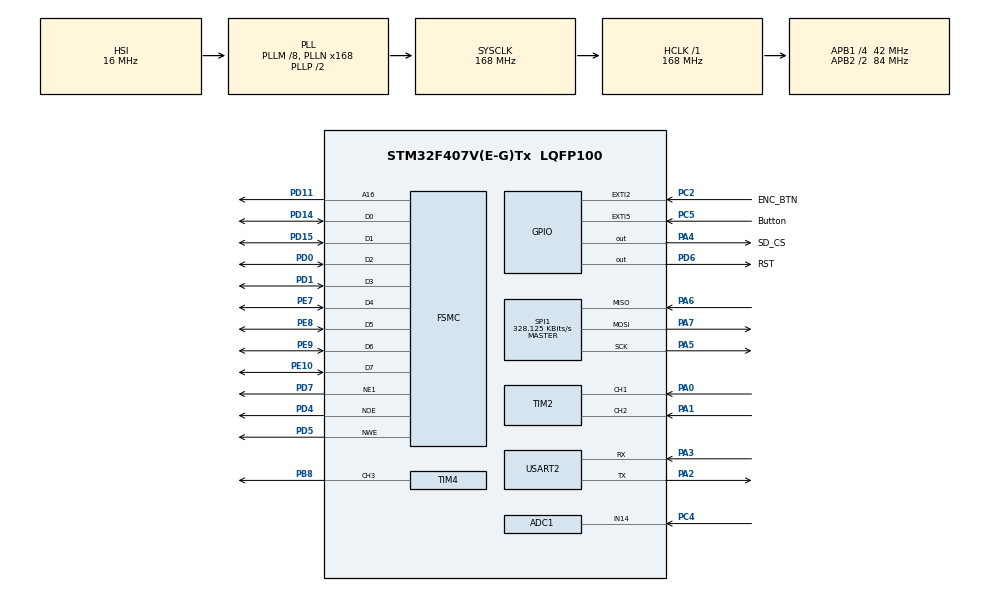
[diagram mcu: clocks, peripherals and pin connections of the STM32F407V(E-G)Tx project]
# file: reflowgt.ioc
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ADC1.Channel-7\#ChannelRegularConversion=ADC_CHANNEL_14
ADC1.NbrOfConversionFlag=1
ADC1.Rank-7\#ChannelRegularConversion=1
ADC1.SamplingTime-7\#ChannelRegularConversion=ADC_SAMPLETIME_3CYCLES
ADC1.master=1
FSMC.AddressSetupTime1=0
FSMC.BusTurnAroundDuration1=0
FSMC.DataSetupTime1=3
Mcu.Family=STM32F4
Mcu.Name=STM32F407V(E-G)Tx
Mcu.Package=LQFP100
NVIC.EXTI2_IRQn=true\:0\:0\:false\:false\:true\:true\:true\:true
NVIC.EXTI9_5_IRQn=true\:0\:0\:false\:false\:true\:true\:true\:true
NVIC.PriorityGroup=NVIC_PRIORITYGROUP_4
NVIC.TIM3_IRQn=true\:0\:0\:false\:false\:true\:true\:true\:true
PA0-WKUP.Signal=S_TIM2_CH1_ETR
PA1.Signal=S_TIM2_CH2
PA13.Mode=Trace_Asynchronous_SW
PA13.Signal=SYS_JTMS-SWDIO
PA14.Mode=Trace_Asynchronous_SW
PA14.Signal=SYS_JTCK-SWCLK
PA2.Mode=Asynchronous
PA2.Signal=USART2_TX
PA3.Mode=Asynchronous
PA3.Signal=USART2_RX
PA4.GPIO_Label=SD_CS
PA4.PinState=GPIO_PIN_SET
PA4.Signal=GPIO_Output
PA5.GPIO_PuPd=GPIO_NOPULL
PA5.Mode=Full_Duplex_Master
PA5.Signal=SPI1_SCK
PA6.GPIO_PuPd=GPIO_NOPULL
PA6.Mode=Full_Duplex_Master
PA6.Signal=SPI1_MISO
PA7.GPIO_PuPd=GPIO_NOPULL
PA7.Mode=Full_Duplex_Master
PA7.Signal=SPI1_MOSI
PB3.Mode=Trace_Asynchronous_SW
PB3.Signal=SYS_JTDO-SWO
PB8.Signal=S_TIM4_CH3
PC2.GPIO_Label=ENC_BTN
PC2.GPIO_ModeDefaultEXTI=GPIO_MODE_IT_RISING_FALLING
PC2.GPIO_PuPd=GPIO_PULLUP
PC2.Signal=GPXTI2
PC4.Signal=ADCx_IN14
PC5.GPIO_Label=Button
PC5.GPIO_PuPd=GPIO_PULLUP
PC5.Signal=GPXTI5
PD0.Mode=8b-d1
PD0.Signal=FSMC_D2
PD1.Mode=8b-d1
PD1.Signal=FSMC_D3
PD11.Mode=A16_1
PD11.Signal=FSMC_A16
PD14.Mode=8b-d1
PD14.Signal=FSMC_D0
PD15.Mode=8b-d1
PD15.Signal=FSMC_D1
PD4.Mode=Lcd1
PD4.Signal=FSMC_NOE
PD5.Mode=Lcd1
PD5.Signal=FSMC_NWE
PD6.GPIO_Label=RST
PD6.Signal=GPIO_Output
PD7.Mode=NorPsramChipSelect1_1
PD7.Signal=FSMC_NE1
PE10.Mode=8b-d1
PE10.Signal=FSMC_D7
PE7.Mode=8b-d1
PE7.Signal=FSMC_D4
PE8.Mode=8b-d1
PE8.Signal=FSMC_D5
PE9.Mode=8b-d1
PE9.Signal=FSMC_D6
ProjectManager.HeapSize=0x200
ProjectManager.StackSize=0x400
ProjectManager.TargetToolchain=STM32CubeIDE
RCC.48MHZClocksFreq_Value=84000000
RCC.AHBFreq_Value=168000000
RCC.APB1CLKDivider=RCC_HCLK_DIV4
RCC.APB1Freq_Value=42000000
RCC.APB1TimFreq_Value=84000000
RCC.APB2CLKDivider=RCC_HCLK_DIV2
RCC.APB2Freq_Value=84000000
RCC.APB2TimFreq_Value=168000000
RCC.CortexFreq_Value=168000000
RCC.HCLKFreq_Value=168000000
RCC.HSE_VALUE=25000000
RCC.HSI_VALUE=16000000
RCC.LSE_VALUE=32768
RCC.PLLM=8
RCC.PLLN=168
RCC.SYSCLKFreq_VALUE=168000000
RCC.SYSCLKSource=RCC_SYSCLKSOURCE_PLLCLK
RCC.VCOOutputFreq_Value=336000000
SH.ADCx_IN14.0=ADC1_IN14,IN14
SH.S_TIM2_CH1_ETR.0=TIM2_CH1,Encoder_Interface
SH.S_TIM2_CH2.0=TIM2_CH2,Encoder_Interface
SH.S_TIM4_CH3.0=TIM4_CH3,PWM Generation3 CH3
SPI1.BaudRatePrescaler=SPI_BAUDRATEPRESCALER_256
SPI1.CalculateBaudRate=328.125 KBits/s
SPI1.Direction=SPI_DIRECTION_2LINES
SPI1.Mode=SPI_MODE_MASTER
SPI1.VirtualType=VM_MASTER
TIM2.AutoReloadPreload=TIM_AUTORELOAD_PRELOAD_ENABLE
TIM2.EncoderMode=TIM_ENCODERMODE_TI12
TIM2.IC1Filter=5
TIM2.IC2Filter=5
TIM3.AutoReloadPreload=TIM_AUTORELOAD_PRELOAD_ENABLE
TIM3.Period=4999
TIM3.Prescaler=8399
TIM4.AutoReloadPreload=TIM_AUTORELOAD_PRELOAD_ENABLE
TIM4.Channel-PWM\ Generation3\ CH3=TIM_CHANNEL_3
TIM4.Period=839
TIM4.Prescaler=10000
USART2.VirtualMode=VM_ASYNC
VP_FATFS_VS_Generic.Mode=User_defined
VP_TIM3_VS_ClockSourceINT.Mode=Internal
board=custom

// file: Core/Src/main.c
/* USER CODE BEGIN Header */
/**
  ******************************************************************************
  * @file           : main.c
  * @brief          : Main program body
  ******************************************************************************
  * @attention
  *
  * Copyright (c) 2025 STMicroelectronics.
  * All rights reserved.
  *
  * This software is licensed under terms that can be found in the LICENSE file
  * in the root directory of this software component.
  * If no LICENSE file comes with this software, it is provided AS-IS.
  *
  ******************************************************************************
  */
/* USER CODE END Header */
#include "main.h"
#include "fatfs.h"

/* USER CODE BEGIN Includes */
#include <lvgl.h>
//#include <examples/lv_examples.h>
#include "ILI9341.h"
#include <ui/ui.h>
#include <math.h>  // Untuk fungsi log()
#include "stdio.h"
#include "string.h"
#include "stdarg.h"

#define constrain(nilaix,bawah,atas) ( (nilaix)<(bawah) ? (bawah) : ( (nilaix)>(atas) ? (atas) : (nilaix) ) )
#define ADC_RESOLUTION 4096  // Resolusi ADC (misalnya, 12-bit untuk STM32)
const float VREF = 3.3;             // Tegangan referensi ADC (dalam volt)
//const float R_SERI = 1230;         // Nilai resistor seri (ohm)
const float R_SERI = 1200;         // Nilai resistor seri (ohm)
uint32_t prev = 0, start_enc_btn_timing = 0;
volatile uint16_t adc_val;
volatile float temperature = 0, integral_sum = 0;
int measured_temperature = 0;
float rNTC, vNTC, time_4_start = 0;
int Temp_target[5] = {0, 150, 150, 221, 221};
int Time_target[5] = {0, 100, 180, 240, 260};
int data_pwm = 0;
bool home = false;
volatile bool enc_btn_flag = false;
volatile bool enc_btn_pressed = false;
//float beta_data[13]={8999.94478, 4597.25931, 4642.77635, 4589.35974, 4922.85215, 4382.09046, 4981.99115, 5088.81046, 5219.67009, 5229.97882, 5231.95880, 8424.73742, 1907.32719
//};
//float R_ref[13]={76800, 37800, 19800, 10900, 6800, 4100, 2860, 1480, 1100, 800, 560, 400, 206
//};
//float T_data[13]={30, 46, 61, 76, 89, 103, 115, 136, 146, 157, 170, 183, 200
//};
//float beta_data[]={3356, 3906, 4282, 4425, 3836, 4491, 4124, 2943, 4671};
float beta_data[]={3358, 3910, 4291, 4444, 3865, 4549, 4211, 3593, 3863};
//float R_ref[]={76260, 38430, 18998, 9555, 5058, 3078, 1818, 1171, 879, 579
float R_ref[]={76230, 38400, 18968, 9525, 5028, 3048, 1788, 1141, 740, 487
};
float T_data[]={30, 50, 70, 90, 110, 130, 150, 170, 195, 220};
//float time_from_start = 0;
/* USER CODE END Includes */

ADC_HandleTypeDef hadc1;

SPI_HandleTypeDef hspi1;

TIM_HandleTypeDef htim2;
TIM_HandleTypeDef htim3;
TIM_HandleTypeDef htim4;

UART_HandleTypeDef huart2;

SRAM_HandleTypeDef hsram1;

void SystemClock_Config(void);
static void MX_GPIO_Init(void);
static void MX_FSMC_Init(void);
static void MX_TIM2_Init(void);
static void MX_ADC1_Init(void);
static void MX_TIM4_Init(void);
static void MX_TIM3_Init(void);
static void MX_SPI1_Init(void);
static void MX_USART2_UART_Init(void);

/* USER CODE BEGIN 0 */
void myprintf(const char *fmt, ...) {
  static char buffer[256];
  va_list args;
  va_start(args, fmt);
  vsnprintf(buffer, sizeof(buffer), fmt, args);
  va_end(args);

  int len = strlen(buffer);
  HAL_UART_Transmit(&huart2, (uint8_t*)buffer, len, -1);

}

FATFS FatFs;
FRESULT mount_sd(int attemp) {
    FRESULT fres = f_mount(&FatFs, "", 1);
    if (fres != FR_OK) {
    	if(attemp <= 0){
    		return fres;
    	}
    	HAL_Delay(2000);
    	return mount_sd(attemp - 1);
    }
    return fres;
}

void unmount_sd() {
    f_mount(NULL, "", 0);
}

FRESULT write_data(uint16_t d1, uint16_t d2, uint16_t d3, uint16_t d4, uint16_t d5, uint16_t d6, uint16_t d7, uint16_t d8, const char* filename) {
    FIL fil;
    FRESULT fres;
    char path[30];
    sprintf(path, "%s.txt", filename);

    fres = mount_sd(5);
    if(fres != FR_OK) return fres;

    fres = f_open(&fil, path, FA_WRITE | FA_CREATE_ALWAYS);
    if (fres != FR_OK) {
        unmount_sd();
        return fres;
    }

    char buffer[100];
    sprintf(buffer, "%u\n%u\n%u\n%u\n%u\n%u\n%u\n%u\n", d1, d2, d3, d4, d5, d6, d7, d8);

    UINT bytesWritten;
    fres = f_write(&fil, buffer, strlen(buffer), &bytesWritten);
    if (fres != FR_OK) {
        f_close(&fil);
        unmount_sd();
        return fres;
    }

    f_close(&fil);
    unmount_sd();
    return fres;
}

FRESULT read_data(uint16_t* d1, uint16_t* d2, uint16_t* d3, uint16_t* d4, uint16_t* d5, uint16_t* d6, uint16_t* d7, uint16_t* d8, const char* filename) {
    FIL fil;
    FRESULT fres;
    char path[30];
    sprintf(path, "%s.txt", filename);
    fres = mount_sd(5);
	if(fres != FR_OK) return fres;
    fres = f_open(&fil, path, FA_READ);
    if (fres != FR_OK) {
        unmount_sd();
        return fres;
    }
    char buffer[100];
    UINT bytesRead;
    fres = f_read(&fil, buffer, sizeof(buffer) - 1, &bytesRead);
    if (fres != FR_OK) {
        f_close(&fil);
        unmount_sd();
        return fres;
    }
    buffer[bytesRead] = '\0';
    sscanf(buffer, "%hu\n%hu\n%hu\n%hu\n%hu\n\%hu\n%hu\n%hu\n", d1, d2, d3, d4, d5, d6, d7, d8);
    f_close(&fil);
    unmount_sd();
    return fres;
}

FRESULT list_txt_files(char* file_list, size_t list_size) {
    DIR dir;
    FILINFO fno;
    FRESULT fres;
    size_t list_index = 0;
    fres = mount_sd(5);
	if(fres != FR_OK) return fres;

    fres = f_opendir(&dir, "");
    if (fres != FR_OK) {
        unmount_sd();
        return fres;
    }

    while (1) {
        fres = f_readdir(&dir, &fno);
        if (fres != FR_OK || fno.fname[0] == 0) break;
        if (!(fno.fattrib & AM_DIR)) {
            char *dot = strrchr(fno.fname, '.');
            if (dot && strcasecmp(dot, ".TXT") == 0) {
                size_t name_length = dot - fno.fname;
                if (list_index + name_length + 2 < list_size) {
                    strncpy(&file_list[list_index], fno.fname, name_length);
                    file_list[list_index + name_length] = '\n'; // Add newline
                    file_list[list_index + name_length + 1] = '\0'; // Null terminator
                    list_index += name_length + 1;
                } else {
                    break;
                }
            }
        }
    }
    f_closedir(&dir);
    unmount_sd();
    return FR_OK;
}

FRESULT delete_file(const char *filename) {
    FRESULT fres;
    char path[30];

    snprintf(path, sizeof(path), "%s.txt", filename);
    fres = mount_sd(5);
	if(fres != FR_OK) return fres;
    FILINFO fno;
    fres = f_stat(path, &fno);
    if (fres == FR_NO_FILE) {
        unmount_sd();
        return fres;
    } else if (fres != FR_OK) {
        unmount_sd();
        return fres;
    }

    // Hapus file jika ada
    fres = f_unlink(path);
    unmount_sd();

    return fres;
}

float get_midle_temp(float Ntc_temp){
	return 1.057 * Ntc_temp - 1.6318;
}

float get_temp_pt2(float R2) {
    static float R1 = 0, beta = 0, T1 = 0;
    R1 = R_ref[0];
	beta = beta_data[0];
	T1 = T_data[0];
    for(int a = 0; a <= 9; a++){
        if(R2 < R_ref[a]){
            R1 = R_ref[a];
            beta = beta_data[a];
            T1 = T_data[a];
        }
        else break;
    }
    return 1 / ((-log(R1 / R2) / beta) + (1 / (T1 + 273.15))) - 273.15;
}

uint16_t adc2Celcius() {
    vNTC = (float)adc_val * 3.3f / 4095.0f;
    rNTC = R_SERI * (vNTC / (VREF - vNTC));
    return (uint16_t)get_temp_pt2(rNTC);
}

uint32_t GetElapsedTimems(uint32_t start) {
    uint32_t current = uwTick;  // Membaca nilai counter saat ini
    if (current >= start) {
        return current - start;  // Waktu yang berlalu (tidak ada overflow)
    } else {
        return (4294967295 - start + current + 1);  // +1 karena counter termasuk 0
    }
}

int compute_PI(float pv, float sp, float kp, float ki, float kd) {
    float error = sp - pv;
//    if(error < 0) integral_sum = 0;
    static float prev_err = 0;
    float dt = (float)GetElapsedTimems(prev);
    integral_sum += error * dt;
    prev = uwTick;

    if(error < 20 && error > -20) integral_sum = constrain(integral_sum, 0, 250/ki);
    else integral_sum = 0;
    float derivative = (error - prev_err) / dt;
    prev_err = error;

//    if(error > 0)

    float output = (kp * error) + (ki * integral_sum) + (kd * derivative);
//    output = constrain((int)output, 0, 250) ;
    output = constrain((int)output, 0, 250);
//    if(output == 250.0) integral_sum = 0;
    prev_err = error;

    return output;
}

void my_enc_read (lv_indev_t *indev_drv, lv_indev_data_t * data)
{
    static int prev_data = 0;
    int pulse = (TIM2->CNT) >> 2;
    int selisih = pulse - prev_data;
    prev_data = pulse;
    data->enc_diff = selisih;

    if(enc_btn_flag){
    	data->state = LV_INDEV_STATE_PRESSED;
        enc_btn_flag = false;
    }
    else {
        data->state = LV_INDEV_STATE_RELEASED;
    }
}

void create_group(){
	lv_indev_t *my_indev = lv_indev_create();

	ui_create_groups();
	lv_indev_set_type(my_indev, LV_INDEV_TYPE_ENCODER);
	lv_indev_set_read_cb(my_indev, my_enc_read);
	lv_indev_set_group(my_indev, groups.Enc);
}
/* USER CODE END 0 */

int main(void)
{

  /* MCU Configuration--------------------------------------------------------*/

  /* Reset of all peripherals, Initializes the Flash interface and the Systick. */
  HAL_Init();

  /* Configure the system clock */
  SystemClock_Config();

  /* Initialize all configured peripherals */
  MX_GPIO_Init();
  MX_FSMC_Init();
  MX_TIM2_Init();
  MX_ADC1_Init();
  MX_TIM4_Init();
  MX_TIM3_Init();
  MX_SPI1_Init();
  MX_FATFS_Init();
  MX_USART2_UART_Init();
  /* USER CODE BEGIN 2 */
  lv_init();
  lv_port_disp_init();
  HAL_TIM_Encoder_Start(&htim2, TIM_CHANNEL_ALL);
  HAL_TIM_PWM_Start(&htim4, TIM_CHANNEL_3);
  start_enc_btn_timing = uwTick;
  /* USER CODE END 2 */

  /* Infinite loop */
  /* USER CODE BEGIN WHILE */
  create_group();
  ui_init();
  if ((htim3.Instance->CR1 & TIM_CR1_CEN) == 1) {
		  HAL_TIM_Base_Stop_IT(&htim3);
  }
  while (1)
  {
	  HAL_ADC_Start(&hadc1);
	  HAL_ADC_PollForConversion(&hadc1, 1);
	  adc_val = HAL_ADC_GetValue(&hadc1);
//	  HAL_Delay(50);
    /* USER CODE END WHILE */

    /* USER CODE BEGIN 3 */
	  lv_task_handler();
	  ui_tick();
	  if(home){
//		  lv_scr_load(objects.main);
		  back_to_home();
		  home = !home;
	  }
  }
  /* USER CODE END 3 */
}

void SystemClock_Config(void)
{
  RCC_OscInitTypeDef RCC_OscInitStruct = {0};
  RCC_ClkInitTypeDef RCC_ClkInitStruct = {0};

  /** Configure the main internal regulator output voltage
  */
  __HAL_RCC_PWR_CLK_ENABLE();
  __HAL_PWR_VOLTAGESCALING_CONFIG(PWR_REGULATOR_VOLTAGE_SCALE1);

  /** Initializes the RCC Oscillators according to the specified parameters
  * in the RCC_OscInitTypeDef structure.
  */
  RCC_OscInitStruct.OscillatorType = RCC_OSCILLATORTYPE_HSI;
  RCC_OscInitStruct.HSIState = RCC_HSI_ON;
  RCC_OscInitStruct.HSICalibrationValue = RCC_HSICALIBRATION_DEFAULT;
  RCC_OscInitStruct.PLL.PLLState = RCC_PLL_ON;
  RCC_OscInitStruct.PLL.PLLSource = RCC_PLLSOURCE_HSI;
  RCC_OscInitStruct.PLL.PLLM = 8;
  RCC_OscInitStruct.PLL.PLLN = 168;
  RCC_OscInitStruct.PLL.PLLP = RCC_PLLP_DIV2;
  RCC_OscInitStruct.PLL.PLLQ = 4;
  if (HAL_RCC_OscConfig(&RCC_OscInitStruct) != HAL_OK)
  {
    Error_Handler();
  }

  /** Initializes the CPU, AHB and APB buses clocks
  */
  RCC_ClkInitStruct.ClockType = RCC_CLOCKTYPE_HCLK|RCC_CLOCKTYPE_SYSCLK
                              |RCC_CLOCKTYPE_PCLK1|RCC_CLOCKTYPE_PCLK2;
  RCC_ClkInitStruct.SYSCLKSource = RCC_SYSCLKSOURCE_PLLCLK;
  RCC_ClkInitStruct.AHBCLKDivider = RCC_SYSCLK_DIV1;
  RCC_ClkInitStruct.APB1CLKDivider = RCC_HCLK_DIV4;
  RCC_ClkInitStruct.APB2CLKDivider = RCC_HCLK_DIV2;

  if (HAL_RCC_ClockConfig(&RCC_ClkInitStruct, FLASH_LATENCY_5) != HAL_OK)
  {
    Error_Handler();
  }
}

static void MX_ADC1_Init(void)
{

  ADC_ChannelConfTypeDef sConfig = {0};

  /** Configure the global features of the ADC (Clock, Resolution, Data Alignment and number of conversion)
  */
  hadc1.Instance = ADC1;
  hadc1.Init.ClockPrescaler = ADC_CLOCK_SYNC_PCLK_DIV4;
  hadc1.Init.Resolution = ADC_RESOLUTION_12B;
  hadc1.Init.ScanConvMode = DISABLE;
  hadc1.Init.ContinuousConvMode = DISABLE;
  hadc1.Init.DiscontinuousConvMode = DISABLE;
  hadc1.Init.ExternalTrigConvEdge = ADC_EXTERNALTRIGCONVEDGE_NONE;
  hadc1.Init.ExternalTrigConv = ADC_SOFTWARE_START;
  hadc1.Init.DataAlign = ADC_DATAALIGN_RIGHT;
  hadc1.Init.NbrOfConversion = 1;
  hadc1.Init.DMAContinuousRequests = DISABLE;
  hadc1.Init.EOCSelection = ADC_EOC_SINGLE_CONV;
  if (HAL_ADC_Init(&hadc1) != HAL_OK)
  {
    Error_Handler();
  }

  /** Configure for the selected ADC regular channel its corresponding rank in the sequencer and its sample time.
  */
  sConfig.Channel = ADC_CHANNEL_14;
  sConfig.Rank = 1;
  sConfig.SamplingTime = ADC_SAMPLETIME_3CYCLES;
  if (HAL_ADC_ConfigChannel(&hadc1, &sConfig) != HAL_OK)
  {
    Error_Handler();
  }

}

static void MX_SPI1_Init(void)
{

  /* SPI1 parameter configuration*/
  hspi1.Instance = SPI1;
  hspi1.Init.Mode = SPI_MODE_MASTER;
  hspi1.Init.Direction = SPI_DIRECTION_2LINES;
  hspi1.Init.DataSize = SPI_DATASIZE_8BIT;
  hspi1.Init.CLKPolarity = SPI_POLARITY_LOW;
  hspi1.Init.CLKPhase = SPI_PHASE_1EDGE;
  hspi1.Init.NSS = SPI_NSS_SOFT;
  hspi1.Init.BaudRatePrescaler = SPI_BAUDRATEPRESCALER_256;
  hspi1.Init.FirstBit = SPI_FIRSTBIT_MSB;
  hspi1.Init.TIMode = SPI_TIMODE_DISABLE;
  hspi1.Init.CRCCalculation = SPI_CRCCALCULATION_DISABLE;
  hspi1.Init.CRCPolynomial = 10;
  if (HAL_SPI_Init(&hspi1) != HAL_OK)
  {
    Error_Handler();
  }

}

static void MX_TIM2_Init(void)
{

  TIM_Encoder_InitTypeDef sConfig = {0};
  TIM_MasterConfigTypeDef sMasterConfig = {0};

  htim2.Instance = TIM2;
  htim2.Init.Prescaler = 0;
  htim2.Init.CounterMode = TIM_COUNTERMODE_UP;
  htim2.Init.Period = 4294967295;
  htim2.Init.ClockDivision = TIM_CLOCKDIVISION_DIV1;
  htim2.Init.AutoReloadPreload = TIM_AUTORELOAD_PRELOAD_ENABLE;
  sConfig.EncoderMode = TIM_ENCODERMODE_TI12;
  sConfig.IC1Polarity = TIM_ICPOLARITY_RISING;
  sConfig.IC1Selection = TIM_ICSELECTION_DIRECTTI;
  sConfig.IC1Prescaler = TIM_ICPSC_DIV1;
  sConfig.IC1Filter = 5;
  sConfig.IC2Polarity = TIM_ICPOLARITY_RISING;
  sConfig.IC2Selection = TIM_ICSELECTION_DIRECTTI;
  sConfig.IC2Prescaler = TIM_ICPSC_DIV1;
  sConfig.IC2Filter = 5;
  if (HAL_TIM_Encoder_Init(&htim2, &sConfig) != HAL_OK)
  {
    Error_Handler();
  }
  sMasterConfig.MasterOutputTrigger = TIM_TRGO_RESET;
  sMasterConfig.MasterSlaveMode = TIM_MASTERSLAVEMODE_DISABLE;
  if (HAL_TIMEx_MasterConfigSynchronization(&htim2, &sMasterConfig) != HAL_OK)
  {
    Error_Handler();
  }

}

static void MX_TIM3_Init(void)
{

  TIM_ClockConfigTypeDef sClockSourceConfig = {0};
  TIM_MasterConfigTypeDef sMasterConfig = {0};

  htim3.Instance = TIM3;
  htim3.Init.Prescaler = 8399;
  htim3.Init.CounterMode = TIM_COUNTERMODE_UP;
  htim3.Init.Period = 4999;
  htim3.Init.ClockDivision = TIM_CLOCKDIVISION_DIV1;
  htim3.Init.AutoReloadPreload = TIM_AUTORELOAD_PRELOAD_ENABLE;
  if (HAL_TIM_Base_Init(&htim3) != HAL_OK)
  {
    Error_Handler();
  }
  sClockSourceConfig.ClockSource = TIM_CLOCKSOURCE_INTERNAL;
  if (HAL_TIM_ConfigClockSource(&htim3, &sClockSourceConfig) != HAL_OK)
  {
    Error_Handler();
  }
  sMasterConfig.MasterOutputTrigger = TIM_TRGO_RESET;
  sMasterConfig.MasterSlaveMode = TIM_MASTERSLAVEMODE_DISABLE;
  if (HAL_TIMEx_MasterConfigSynchronization(&htim3, &sMasterConfig) != HAL_OK)
  {
    Error_Handler();
  }

}

static void MX_TIM4_Init(void)
{

  TIM_MasterConfigTypeDef sMasterConfig = {0};
  TIM_OC_InitTypeDef sConfigOC = {0};

  htim4.Instance = TIM4;
  htim4.Init.Prescaler = 10000;
  htim4.Init.CounterMode = TIM_COUNTERMODE_UP;
  htim4.Init.Period = 839;
  htim4.Init.ClockDivision = TIM_CLOCKDIVISION_DIV1;
  htim4.Init.AutoReloadPreload = TIM_AUTORELOAD_PRELOAD_ENABLE;
  if (HAL_TIM_PWM_Init(&htim4) != HAL_OK)
  {
    Error_Handler();
  }
  sMasterConfig.MasterOutputTrigger = TIM_TRGO_RESET;
  sMasterConfig.MasterSlaveMode = TIM_MASTERSLAVEMODE_DISABLE;
  if (HAL_TIMEx_MasterConfigSynchronization(&htim4, &sMasterConfig) != HAL_OK)
  {
    Error_Handler();
  }
  sConfigOC.OCMode = TIM_OCMODE_PWM1;
  sConfigOC.Pulse = 0;
  sConfigOC.OCPolarity = TIM_OCPOLARITY_HIGH;
  sConfigOC.OCFastMode = TIM_OCFAST_DISABLE;
  if (HAL_TIM_PWM_ConfigChannel(&htim4, &sConfigOC, TIM_CHANNEL_3) != HAL_OK)
  {
    Error_Handler();
  }
  HAL_TIM_MspPostInit(&htim4);

}

static void MX_USART2_UART_Init(void)
{

  huart2.Instance = USART2;
  huart2.Init.BaudRate = 115200;
  huart2.Init.WordLength = UART_WORDLENGTH_8B;
  huart2.Init.StopBits = UART_STOPBITS_1;
  huart2.Init.Parity = UART_PARITY_NONE;
  huart2.Init.Mode = UART_MODE_TX_RX;
  huart2.Init.HwFlowCtl = UART_HWCONTROL_NONE;
  huart2.Init.OverSampling = UART_OVERSAMPLING_16;
  if (HAL_UART_Init(&huart2) != HAL_OK)
  {
    Error_Handler();
  }

}

static void MX_GPIO_Init(void)
{
  GPIO_InitTypeDef GPIO_InitStruct = {0};

  /* GPIO Ports Clock Enable */
  __HAL_RCC_GPIOC_CLK_ENABLE();
  __HAL_RCC_GPIOA_CLK_ENABLE();
  __HAL_RCC_GPIOE_CLK_ENABLE();
  __HAL_RCC_GPIOD_CLK_ENABLE();
  __HAL_RCC_GPIOB_CLK_ENABLE();

  /*Configure GPIO pin Output Level */
  HAL_GPIO_WritePin(SD_CS_GPIO_Port, SD_CS_Pin, GPIO_PIN_SET);

  /*Configure GPIO pin Output Level */
  HAL_GPIO_WritePin(RST_GPIO_Port, RST_Pin, GPIO_PIN_RESET);

  /*Configure GPIO pin : ENC_BTN_Pin */
  GPIO_InitStruct.Pin = ENC_BTN_Pin;
  GPIO_InitStruct.Mode = GPIO_MODE_IT_RISING_FALLING;
  GPIO_InitStruct.Pull = GPIO_PULLUP;
  HAL_GPIO_Init(ENC_BTN_GPIO_Port, &GPIO_InitStruct);

  /*Configure GPIO pin : SD_CS_Pin */
  GPIO_InitStruct.Pin = SD_CS_Pin;
  GPIO_InitStruct.Mode = GPIO_MODE_OUTPUT_PP;
  GPIO_InitStruct.Pull = GPIO_NOPULL;
  GPIO_InitStruct.Speed = GPIO_SPEED_FREQ_LOW;
  HAL_GPIO_Init(SD_CS_GPIO_Port, &GPIO_InitStruct);

  /*Configure GPIO pin : Button_Pin */
  GPIO_InitStruct.Pin = Button_Pin;
  GPIO_InitStruct.Mode = GPIO_MODE_IT_RISING;
  GPIO_InitStruct.Pull = GPIO_PULLUP;
  HAL_GPIO_Init(Button_GPIO_Port, &GPIO_InitStruct);

  /*Configure GPIO pin : RST_Pin */
  GPIO_InitStruct.Pin = RST_Pin;
  GPIO_InitStruct.Mode = GPIO_MODE_OUTPUT_PP;
  GPIO_InitStruct.Pull = GPIO_NOPULL;
  GPIO_InitStruct.Speed = GPIO_SPEED_FREQ_LOW;
  HAL_GPIO_Init(RST_GPIO_Port, &GPIO_InitStruct);

  /* EXTI interrupt init*/
  HAL_NVIC_SetPriority(EXTI2_IRQn, 0, 0);
  HAL_NVIC_EnableIRQ(EXTI2_IRQn);

  HAL_NVIC_SetPriority(EXTI9_5_IRQn, 0, 0);
  HAL_NVIC_EnableIRQ(EXTI9_5_IRQn);

}

/* FSMC initialization function */
static void MX_FSMC_Init(void)
{

  FSMC_NORSRAM_TimingTypeDef Timing = {0};

  /** Perform the SRAM1 memory initialization sequence
  */
  hsram1.Instance = FSMC_NORSRAM_DEVICE;
  hsram1.Extended = FSMC_NORSRAM_EXTENDED_DEVICE;
  /* hsram1.Init */
  hsram1.Init.NSBank = FSMC_NORSRAM_BANK1;
  hsram1.Init.DataAddressMux = FSMC_DATA_ADDRESS_MUX_DISABLE;
  hsram1.Init.MemoryType = FSMC_MEMORY_TYPE_SRAM;
  hsram1.Init.MemoryDataWidth = FSMC_NORSRAM_MEM_BUS_WIDTH_8;
  hsram1.Init.BurstAccessMode = FSMC_BURST_ACCESS_MODE_DISABLE;
  hsram1.Init.WaitSignalPolarity = FSMC_WAIT_SIGNAL_POLARITY_LOW;
  hsram1.Init.WrapMode = FSMC_WRAP_MODE_DISABLE;
  hsram1.Init.WaitSignalActive = FSMC_WAIT_TIMING_BEFORE_WS;
  hsram1.Init.WriteOperation = FSMC_WRITE_OPERATION_ENABLE;
  hsram1.Init.WaitSignal = FSMC_WAIT_SIGNAL_DISABLE;
  hsram1.Init.ExtendedMode = FSMC_EXTENDED_MODE_DISABLE;
  hsram1.Init.AsynchronousWait = FSMC_ASYNCHRONOUS_WAIT_DISABLE;
  hsram1.Init.WriteBurst = FSMC_WRITE_BURST_DISABLE;
  hsram1.Init.PageSize = FSMC_PAGE_SIZE_NONE;
  /* Timing */
  Timing.AddressSetupTime = 0;
  Timing.AddressHoldTime = 15;
  Timing.DataSetupTime = 3;
  Timing.BusTurnAroundDuration = 0;
  Timing.CLKDivision = 16;
  Timing.DataLatency = 17;
  Timing.AccessMode = FSMC_ACCESS_MODE_A;
  /* ExtTiming */

  if (HAL_SRAM_Init(&hsram1, &Timing, NULL) != HAL_OK)
  {
    Error_Handler( );
  }

}

/* USER CODE BEGIN 4 */
float kpp = 2;
//float kp = 3.5;
//float kp = 6.25;
//float ki = 0;
//float kip = 0.0005;
float kip = 0.00004;
//float kdp = 8500;
float kdp = 3500;
void HAL_TIM_PeriodElapsedCallback(TIM_HandleTypeDef *htim) {
    if (htim->Instance == TIM3) {
//    	adc2Celcius();
    	data_pwm =compute_PI(adc2Celcius(), (float) SP_data, kpp, kip, kdp);
//    	data_pwm = abs(SP_data) % 251;
		__HAL_TIM_SET_COMPARE(&htim4, TIM_CHANNEL_3, data_pwm * (TIM4->ARR / 250));
//		__HAL_TIM_SET_COMPARE(&htim4, TIM_CHANNEL_3, compute_PI(adc2Celcius(), (float) SP_data, kp, ki) * (TIM4->ARR / 250));
//    	__HAL_TIM_SET_COMPARE(&htim4, TIM_CHANNEL_3, (int)SP_data * (TIM4->ARR / 250));
    }
}

void HAL_GPIO_EXTI_Callback(uint16_t GPIO_Pin){
	if(GPIO_Pin == Button_Pin){
//		lv_scr_load(objects.main);
		home = true;
	}
	else if(GPIO_Pin == ENC_BTN_Pin){
//		HAL_Delay(2);
//		if(HAL_GPIO_ReadPin(ENC_BTN_GPIO_Port, ENC_BTN_Pin) == 1) return;

//		if(GetElapsedTimems(start_enc_btn_timing) <= 200) return;
//		start_enc_btn_timing = uwTick;
//		enc_btn_flag = true;

		if(HAL_GPIO_ReadPin(ENC_BTN_GPIO_Port, ENC_BTN_Pin) == 0){
			start_enc_btn_timing = uwTick;
		}
		else if(HAL_GPIO_ReadPin(ENC_BTN_GPIO_Port, ENC_BTN_Pin) == 1 && GetElapsedTimems(start_enc_btn_timing) >= 100){
//			start_enc_btn_timing = uwTick;
			enc_btn_flag = true;
		}

	}
}
/* USER CODE END 4 */

void Error_Handler(void)
{
  __disable_irq();
  while (1)
  {
  }
}
